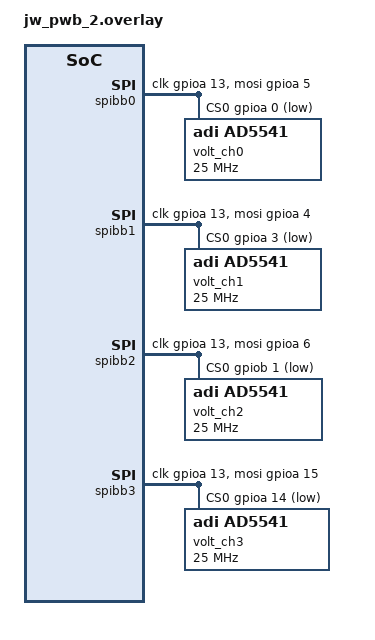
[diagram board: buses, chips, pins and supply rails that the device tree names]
/{
	chosen {
		zephyr,flash = &flash0;
		zephyr,code-partition = &code_partition;
	};
};

&flash0 {
	partitions {
		compatible = "fixed-partitions";
		#address-cells = <1>;
		#size-cells = <1>;

		code_partition: partition@0 {
			label = "code-partition";
			reg = <0x00000000 DT_SIZE_K(64)>;
			read-only;
		};
	};
};

/{
	spibb0: spibb0 {
		compatible = "zephyr,spi-bitbang";
		status = "okay";
		#address-cells = <1>;
		#size-cells = <0>;

		clk-gpios = <&gpioa 13 GPIO_ACTIVE_HIGH>;
		mosi-gpios = <&gpioa 5 GPIO_ACTIVE_HIGH>;
		cs-gpios = <&gpioa 0 GPIO_ACTIVE_LOW>;

    volt_ch0: dac0@0{
      compatible = "adi,ad5541";
      // status = "okay";
		  reg = <0x0>;

			spi-max-frequency = <25000000>; // max: 25 MHz
      duplex = <2048>; // half-duplex
    };
	};

	spibb1: spibb1 {
		compatible = "zephyr,spi-bitbang";
		status = "okay";
		#address-cells = <1>;
		#size-cells = <0>;

		clk-gpios = <&gpioa 13 GPIO_ACTIVE_HIGH>;
		mosi-gpios = <&gpioa 4 GPIO_ACTIVE_HIGH>;
		cs-gpios = <&gpioa 3 GPIO_ACTIVE_LOW>;

    volt_ch1: dac1@0{
      compatible = "adi,ad5541";
      // status = "okay";
		  reg = <0x0>;

			spi-max-frequency = <25000000>; // max: 25 MHz
      duplex = <2048>; // half-duplex
    };
	};

	spibb2: spibb2 {
		compatible = "zephyr,spi-bitbang";
		status = "okay";
		#address-cells = <1>;
		#size-cells = <0>;

		clk-gpios = <&gpioa 13 GPIO_ACTIVE_HIGH>;
		mosi-gpios = <&gpioa 6 GPIO_ACTIVE_HIGH>;
		cs-gpios = <&gpiob 1 GPIO_ACTIVE_LOW>;

    volt_ch2: dac2@0{
      compatible = "adi,ad5541";
      // status = "okay";
		  reg = <0x0>;

			spi-max-frequency = <25000000>; // max: 25 MHz
      duplex = <2048>; // half-duplex
    };
	};

	spibb3: spibb3 {
		compatible = "zephyr,spi-bitbang";
		status = "okay";
		#address-cells = <1>;
		#size-cells = <0>;

		clk-gpios = <&gpioa 13 GPIO_ACTIVE_HIGH>;
		mosi-gpios = <&gpioa 15 GPIO_ACTIVE_HIGH>;
		cs-gpios = <&gpioa 14 GPIO_ACTIVE_LOW>;

    volt_ch3: dac3@0{
      compatible = "adi,ad5541";
      // status = "okay";
		  reg = <0x0>;

			spi-max-frequency = <25000000>; // max: 25 MHz
      duplex = <2048>; // half-duplex
    };
	};
};
